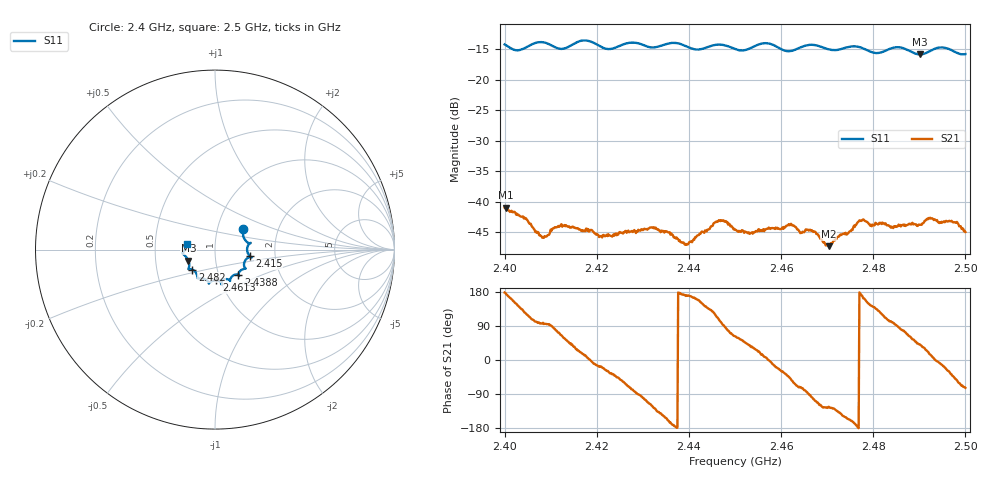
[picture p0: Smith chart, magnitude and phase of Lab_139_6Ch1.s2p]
# Hz S RI R 50
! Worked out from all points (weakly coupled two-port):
!   601 points, 2.4 GHz to 2.5 GHz, reference 50 ohm
!   highest |S21| = -41.01 dB at 2.4003 GHz (marker M1); lowest = -47.3 dB at 2.4703 GHz (marker M2)
!   lowest |S11| = -15.9 dB at 2.4902 GHz (marker M3), VSWR 1.38, Z = 36.8 - j4.66 ohm
!   |S11| at or under -10 dB: start of sweep to end of sweep
!   S12 and S22 are empty: the file has one direction only
!   S11 on the Smith chart (normalised r, x): 2.4 GHz: 1.33, +0.31; 2.415 GHz: 1.47, -0.11; 2.4388 GHz: 1.24, -0.36; 2.4613 GHz: 0.96, -0.34; 2.482 GHz: 0.76, -0.17; 2.5 GHz: 0.72, +0.05
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2.4e9  0.1582 0.1128  -0.00889 0.000291  0 0  0 0
2.400333e9  0.1574 0.1084  -0.00885 0.000977  0 0  0 0
2.403e9  0.1622 0.0628  -0.00617 0.00476  0 0  0 0
2.408e9  0.1995 0.0374  -0.000557 0.00516  0 0  0 0
2.412167e9  0.1786 0.00319  0.00261 0.00584  0 0  0 0
2.415e9  0.1927 -0.0362  0.00501 0.00351  0 0  0 0
2.416667e9  0.2037 -0.0441  0.00543 0.00184  0 0  0 0
2.4225e9  0.1653 -0.0657  0.00467 -0.0027  0 0  0 0
2.433333e9  0.1325 -0.1313  -0.00431 -0.00407  0 0  0 0
2.438833e9  0.1299 -0.1409  -0.00458 0.000586  0 0  0 0
2.4465e9  0.0842 -0.1747  -0.00202 0.00674  0 0  0 0
2.45e9  0.0685 -0.1647  0.0027 0.00521  0 0  0 0
2.456833e9  0.0384 -0.195  0.00593 0.000584  0 0  0 0
2.461333e9  0.00788 -0.1709  0.00478 -0.00419  0 0  0 0
2.466667e9  -0.0343 -0.1898  -0.000855 -0.00575  0 0  0 0
2.470333e9  -0.0461 -0.1709  -0.00237 -0.00359  0 0  0 0
2.477333e9  -0.0971 -0.1554  -0.00686 0.000919  0 0  0 0
2.482e9  -0.126 -0.1118  -0.00332 0.00584  0 0  0 0
2.483333e9  -0.1396 -0.109  -0.00164 0.00617  0 0  0 0
2.490167e9  -0.1484 -0.0617  0.0049 0.00418  0 0  0 0
2.4925e9  -0.1703 -0.0309  0.00708 0.00159  0 0  0 0
2.5e9  -0.1586 0.0328  0.00161 -0.00539  0 0  0 0
